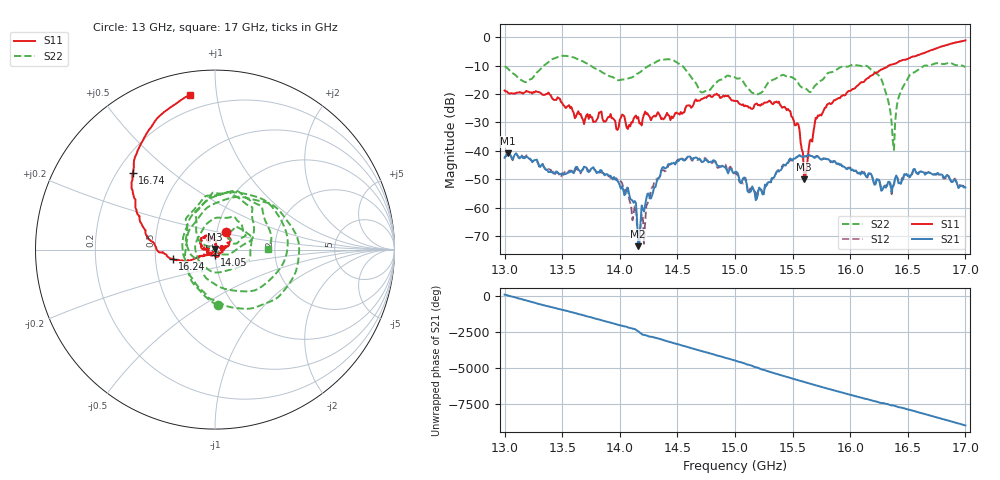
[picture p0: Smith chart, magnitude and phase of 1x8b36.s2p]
!Keysight Technologies,P9374A,MY57211807,A.19.30.04
!Date: Friday, May 08, 2026 14:27:52
!Correction: S11(C  2-Port  )
!S21(C  2-Port  )
!S12(C  2-Port  )
!S22(C  2-Port  )
!S2P File: Measurements: S11, S21, S12, S22:
# Hz S  dB  R 50
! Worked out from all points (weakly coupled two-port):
!   401 points, 13 GHz to 17 GHz, reference 50 ohm
!   highest |S21| = -40.81 dB at 13.03 GHz (marker M1); lowest = -73.5 dB at 14.16 GHz (marker M2)
!   lowest |S11| = -50.0 dB at 15.6 GHz (marker M3), VSWR 1.01, Z = 50.1 + j0.286 ohm
!   |S11| at or under -10 dB: start of sweep to 16.33 GHz
!   |S22| runs from -39.6 to -6.6 dB; largest |S21 - S12| = 0.0009
!   S11 on the Smith chart (normalised r, x): 13 GHz: 1.11, +0.22; 14.05 GHz: 1.00, -0.06; 16.24 GHz: 0.61, -0.07; 16.74 GHz: 0.26, +0.37; 17 GHz: 0.12, +0.84
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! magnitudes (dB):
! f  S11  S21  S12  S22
! 13 GHz  -18.8  -42.4  -42.5  -10.2
! 13.03 GHz  -19.6  -40.8  -41.0  -11.1
! 13.18 GHz  -19.3  -42.4  -42.0  -15.8
! 13.67 GHz  -28.2  -46.8  -46.8  -8.3
! 14.05 GHz  -30.0  -55.0  -52.9  -14.8
! 14.16 GHz  -28.1  -73.5  -69.7  -12.7
! 14.34 GHz  -27.0  -49.4  -49.4  -8.2
! 14.72 GHz  -21.7  -43.9  -43.5  -19.4
! 15 GHz  -22.4  -47.5  -47.8  -14.1
! 15.18 GHz  -23.4  -57.3  -54.6  -19.7
! 15.46 GHz  -25.3  -44.2  -44.2  -14.1
! 15.55 GHz  -30.6  -41.8  -41.8  -16.2
! 15.6 GHz  -50.0  -41.9  -41.9  -17.8
! 15.67 GHz  -36.7  -41.8  -41.5  -18.6
! 15.8 GHz  -23.7  -42.9  -42.8  -12.8
! 16.24 GHz  -12.3  -50.1  -50.3  -13.2
! 16.34 GHz  -9.9  -50.9  -51.1  -24.3
! 16.38 GHz  -9.4  -51.6  -51.7  -39.6
! 16.43 GHz  -8.4  -51.2  -51.4  -20.1
! 16.51 GHz  -7.4  -48.6  -48.6  -13.8
! 16.74 GHz  -4.1  -48.2  -48.4  -9.3
! 17 GHz  -1.2  -52.8  -53.3  -10.6
